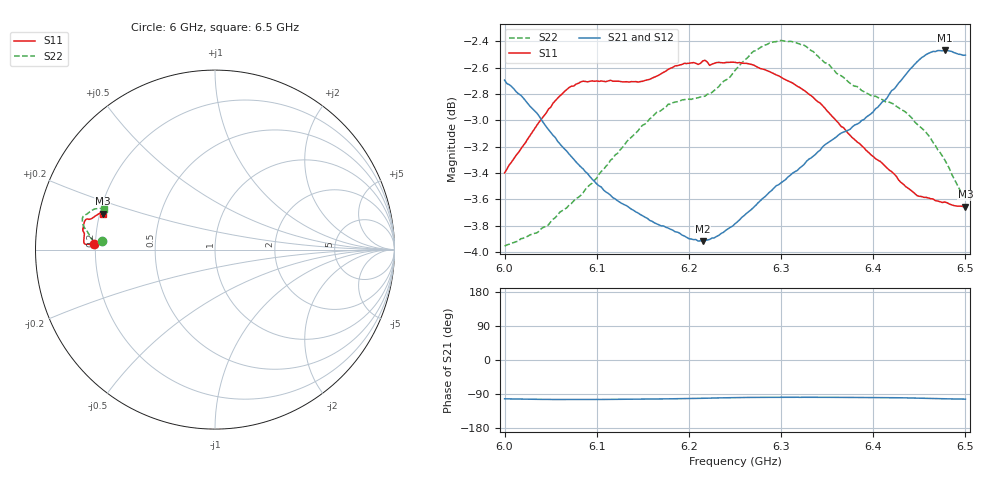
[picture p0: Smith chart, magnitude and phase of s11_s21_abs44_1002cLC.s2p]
! MS46122B
! 1919307/90821646
! 7/29/2022 2:04:20 PM
! C:\USERS\PC_\DESKTOP\MEDICIONES\BANCHA ESTRECHA\6_65_GHZ\S11_S21_ABS44_1002CL.S2P
! CHANNEL.1
! TR.MEASUREMENT
! CORRECTED.DATA
# GHZ S RI R 50.0
! FREQ.GHZ  S11RE  S11IM  S21RE  S21IM  S12RE  S12IM  S22RE  S22IM
!; PortSelection: Port_12
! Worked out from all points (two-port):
!   201 points, 6 GHz to 6.5 GHz, reference 50 ohm
!   highest |S21| = -2.47 dB at 6.478 GHz (marker M1); lowest = -3.9 dB at 6.215 GHz (marker M2)
!   |S21| within 3 dB of the highest: start of sweep to end of sweep
!   lowest |S11| = -3.7 dB at 6.5 GHz (marker M3), VSWR 4.82, Z = 10.6 + j7.47 ohm
!   |S11| at or under -10 dB: nowhere
!   |S22| runs from -4.0 to -2.4 dB; largest |S21 - S12| = 0.019
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6  -0.6753 0.033  -0.1579 -0.716  -0.1516 -0.7107  -0.6323 0.0488
6.005  -0.6799 0.0362  -0.1595 -0.7128  -0.1537 -0.7078  -0.6333 0.0491
6.025  -0.6957 0.0311  -0.1666 -0.6989  -0.165 -0.6945  -0.6377 0.0495
6.045  -0.7117 0.0291  -0.1696 -0.6834  -0.1694 -0.6765  -0.6434 0.0486
6.065  -0.7254 0.032  -0.1716 -0.6688  -0.1669 -0.6596  -0.6536 0.0429
6.085  -0.7314 0.0409  -0.1676 -0.6576  -0.162 -0.648  -0.6631 0.0397
6.1175  -0.7296 0.0657  -0.1596 -0.6421  -0.1499 -0.6338  -0.6826 0.0525
6.1675  -0.7303 0.0953  -0.1422 -0.6303  -0.13 -0.6225  -0.707 0.0937
6.18  -0.734 0.1009  -0.1387 -0.6285  -0.1253 -0.6217  -0.7108 0.101
6.215  -0.7367 0.1156  -0.1214 -0.6253  -0.1072 -0.6225  -0.715 0.1059
6.2375  -0.7327 0.131  -0.108 -0.6327  -0.0948 -0.6306  -0.7236 0.1135
6.25  -0.7311 0.1422  -0.1033 -0.6384  -0.0902 -0.6374  -0.7289 0.1246
6.27  -0.7257 0.1597  -0.0993 -0.6484  -0.0851 -0.6489  -0.7376 0.1465
6.2875  -0.7194 0.1679  -0.0984 -0.6576  -0.0851 -0.658  -0.7395 0.164
6.31  -0.7118 0.1711  -0.098 -0.6676  -0.0841 -0.6699  -0.7365 0.1819
6.335  -0.7023 0.1684  -0.1002 -0.6788  -0.0858 -0.6829  -0.727 0.1914
6.3525  -0.6915 0.1709  -0.1027 -0.6872  -0.0896 -0.6922  -0.7165 0.1967
6.3775  -0.6727 0.183  -0.1083 -0.6956  -0.0961 -0.7035  -0.6997 0.208
6.4175  -0.6478 0.1992  -0.1179 -0.7147  -0.1094 -0.7223  -0.6848 0.22
6.455  -0.6301 0.2025  -0.1433 -0.7349  -0.1407 -0.7418  -0.6639 0.2275
6.4775  -0.6274 0.2021  -0.1608 -0.7352  -0.1593 -0.7394  -0.6436 0.2314
6.5  -0.6251 0.2004  -0.1719 -0.7295  -0.171 -0.7316  -0.6212 0.2268
